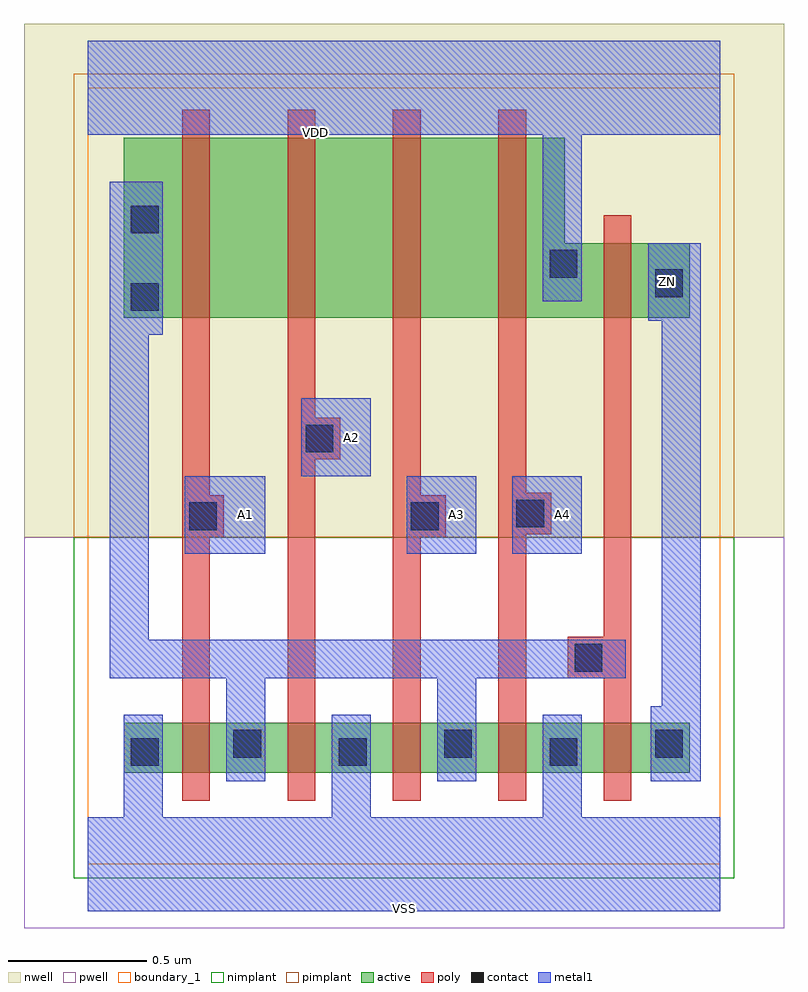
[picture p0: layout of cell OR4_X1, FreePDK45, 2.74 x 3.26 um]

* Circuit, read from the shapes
.subckt OR4_X1 A1 A2 A3 A4 VDD VSS ZN
M1 n1 A1 VSS VSUBS nfet w=0.18u l=0.1u
M2 VSS A2 n1 VSUBS nfet w=0.18u l=0.1u
M3 n1 A3 VSS VSUBS nfet w=0.18u l=0.1u
M4 VSS A4 n1 VSUBS nfet w=0.18u l=0.1u
M5 ZN n1 VSS VSUBS nfet w=0.18u l=0.1u
M6 n2 A1 n1 n3 pfet w=0.65u l=0.1u
M7 n4 A2 n2 n3 pfet w=0.65u l=0.1u
M8 n5 A3 n4 n3 pfet w=0.65u l=0.1u
M9 VDD A4 n5 n3 pfet w=0.65u l=0.1u
M10 ZN n1 VDD n3 pfet w=0.27u l=0.1u
.ends

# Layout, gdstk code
import gdstk
lib = gdstk.Library(unit=1e-6, precision=1e-09)
def R(c, l, rs):  # rectangles x0, y0, x1, y1
    for r in rs: c.add(gdstk.rectangle(r[:2], r[2:], *l))
def A(c, l, x, y, w, h, nx, ny, dx, dy):  # array of equal rectangles
    R(c, l, [(x+i*dx, y+j*dy, x+i*dx+w, y+j*dy+h) for i in range(nx) for j in range(ny)])
def P(c, l, *ps):  # polygons
    for p in ps: c.add(gdstk.Polygon(p, *l))
active = (1, 0)
pwell = (2, 0)
nwell = (3, 0)
nimplant = (4, 0)
pimplant = (5, 0)
poly = (9, 0)
contact = (10, 0)
metal1 = (11, 0)
boundary_1 = (235, 1)

or4_x1 = lib.new_cell('OR4_X1')
R(or4_x1, active, [(0.13,0.33,2.17,0.51)])
P(or4_x1, active, [(0.13,1.97),(2.17,1.97),(2.17,2.24),(1.72,2.24),(1.72,2.62),(0.13,2.62)])
R(or4_x1, pwell, [(-0.23,-0.23,2.51,1.18)])
R(or4_x1, nwell, [(-0.23,1.18,2.51,3.03)])
R(or4_x1, nimplant, [(-0.05,-0.05,2.33,1.18)])
R(or4_x1, pimplant, [(-0.05,1.18,2.33,2.85)])
P(or4_x1, poly, [(1.73,0.67),(1.86,0.67),(1.86,0.23),(1.96,0.23),(1.96,2.34),(1.86,2.34),(1.86,0.82),(1.73,0.82)],
  [(1.48,0.23),(1.58,0.23),(1.58,1.19),(1.67,1.19),(1.67,1.34),(1.58,1.34),(1.58,2.72),(1.48,2.72)],
  [(1.1,0.23),(1.2,0.23),(1.2,1.18),(1.29,1.18),(1.29,1.33),(1.2,1.33),(1.2,2.72),(1.1,2.72)],
  [(0.72,0.23),(0.82,0.23),(0.82,1.46),(0.91,1.46),(0.91,1.61),(0.82,1.61),(0.82,2.72),(0.72,2.72)],
  [(0.34,0.23),(0.44,0.23),(0.44,1.18),(0.49,1.18),(0.49,1.33),(0.44,1.33),(0.44,2.72),(0.34,2.72)])
A(or4_x1, contact, 0.525, 0.385, 0.1, 0.1, 3, 1, 0.76, 0)
R(or4_x1, contact, [(0.155,0.355,0.255,0.455), (0.905,0.355,1.005,0.455), (1.665,0.355,1.765,0.455), (1.755,0.695,1.855,0.795), (0.365,1.205,0.465,1.305), (1.165,1.205,1.265,1.305), (1.545,1.215,1.645,1.315), (0.785,1.485,0.885,1.585), (0.155,1.995,0.255,2.095), (2.045,2.045,2.145,2.145), (1.665,2.115,1.765,2.215), (0.155,2.275,0.255,2.375)])
R(or4_x1, metal1, [(0.35,1.12,0.64,1.4), (0.35,1.12,0.64,1.4), (1.15,1.12,1.4,1.4), (1.15,1.12,1.4,1.4), (1.53,1.12,1.78,1.4), (1.53,1.12,1.78,1.4), (0.77,1.4,1.02,1.68), (0.77,1.4,1.02,1.68)])
P(or4_x1, metal1, [(2.02,1.96),(2.07,1.96),(2.07,0.57),(2.03,0.57),(2.03,0.3),(2.21,0.3),(2.21,2.24),(2.02,2.24)],
  [(0,-0.17),(2.28,-0.17),(2.28,0.17),(1.78,0.17),(1.78,0.54),(1.64,0.54),(1.64,0.17),(1.02,0.17),(1.02,0.54),(0.88,0.54),(0.88,0.17),(0.27,0.17),(0.27,0.54),(0.13,0.54),(0.13,0.17),(0,0.17)],
  [(0,2.63),(1.64,2.63),(1.64,2.03),(1.78,2.03),(1.78,2.63),(2.28,2.63),(2.28,2.97),(0,2.97)],
  [(0,2.63),(1.64,2.63),(1.64,2.03),(1.78,2.03),(1.78,2.63),(2.28,2.63),(2.28,2.97),(0,2.97)],
  [(0,-0.17),(2.28,-0.17),(2.28,0.17),(1.78,0.17),(1.78,0.54),(1.64,0.54),(1.64,0.17),(1.02,0.17),(1.02,0.54),(0.88,0.54),(0.88,0.17),(0.27,0.17),(0.27,0.54),(0.13,0.54),(0.13,0.17),(0,0.17)],
  [(2.02,1.96),(2.07,1.96),(2.07,0.57),(2.03,0.57),(2.03,0.3),(2.21,0.3),(2.21,2.24),(2.02,2.24)],
  [(0.08,0.67),(0.5,0.67),(0.5,0.3),(0.64,0.3),(0.64,0.67),(1.26,0.67),(1.26,0.3),(1.4,0.3),(1.4,0.67),(1.94,0.67),(1.94,0.81),(0.22,0.81),(0.22,1.91),(0.27,1.91),(0.27,2.46),(0.08,2.46)])
R(or4_x1, boundary_1, [(0,0,2.28,2.8)])
or4_x1.add(gdstk.Label('ZN', (2.09,2.1), layer=11, texttype=0))
or4_x1.add(gdstk.Label('VSS', (1.14,-0.16), layer=11, texttype=0))
or4_x1.add(gdstk.Label('VDD', (0.82,2.64), layer=11, texttype=0))
or4_x1.add(gdstk.Label('A4', (1.71,1.26), layer=11, texttype=0))
or4_x1.add(gdstk.Label('A3', (1.33,1.26), layer=11, texttype=0))
or4_x1.add(gdstk.Label('A2', (0.95,1.54), layer=11, texttype=0))
or4_x1.add(gdstk.Label('A1', (0.57,1.26), layer=11, texttype=0))

lib.write_gds('OR4_X1.gds')
